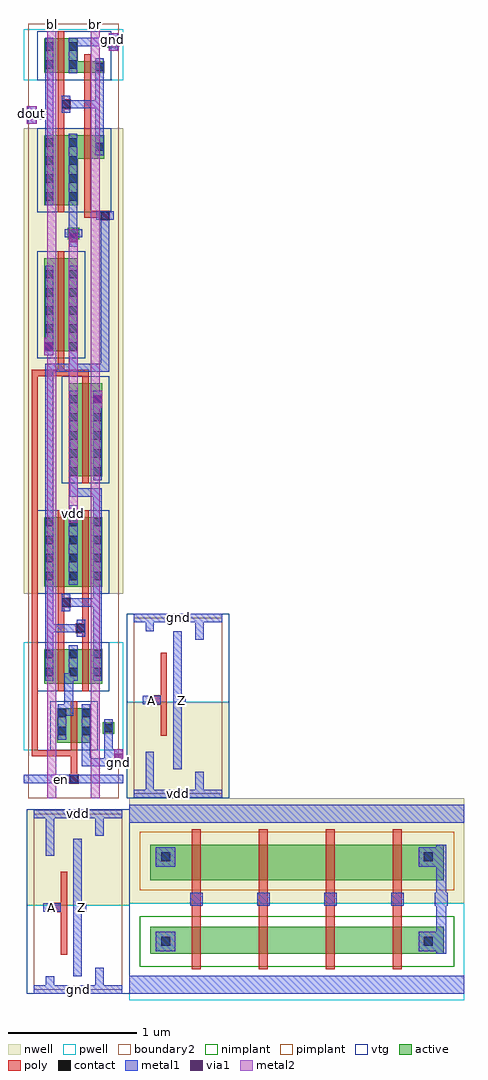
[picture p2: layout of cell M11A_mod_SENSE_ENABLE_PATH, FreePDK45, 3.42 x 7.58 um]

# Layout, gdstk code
import gdstk
lib = gdstk.Library(unit=1e-6, precision=1e-09)
def R(c, l, rs):  # rectangles x0, y0, x1, y1
    for r in rs: c.add(gdstk.rectangle(r[:2], r[2:], *l))
def A(c, l, x, y, w, h, nx, ny, dx, dy):  # array of equal rectangles
    R(c, l, [(x+i*dx, y+j*dy, x+i*dx+w, y+j*dy+h) for i in range(nx) for j in range(ny)])
def P(c, l, *ps):  # polygons
    for p in ps: c.add(gdstk.Polygon(p, *l))
active = (1, 0)
pwell = (2, 0)
nwell = (3, 0)
nimplant = (4, 0)
pimplant = (5, 0)
vtg = (6, 0)
poly = (9, 0)
contact = (10, 0)
metal1 = (11, 0)
via1 = (12, 0)
metal2 = (13, 0)
boundary2 = (239, 0)

m11a_mod_sense_enable_pa = lib.new_cell('M11A_mod_SENSE_ENABLE_PATH')
R(m11a_mod_sense_enable_pa, active, [(0.982,0.36,3.262,0.57), (0.982,0.93,3.262,1.205), (0.262,1.995,0.522,2.265), (0.262,1.995,0.337,2.265), (0.262,1.995,0.337,2.265), (0.447,1.995,0.522,2.265), (0.447,1.995,0.522,2.265), (0.262,2.05,0.337,2.265), (0.447,2.05,0.522,2.265), (0.615,2.065,0.705,2.155), (0.162,2.453,0.422,2.723), (0.162,2.453,0.237,2.723), (0.162,2.453,0.237,2.723), (0.347,2.453,0.422,2.723), (0.347,2.453,0.422,2.723), (0.352,2.453,0.612,2.723), (0.352,2.453,0.427,2.723), (0.352,2.453,0.427,2.723), (0.537,2.453,0.612,2.723), (0.537,2.453,0.612,2.723), (0.162,2.508,0.237,2.723), (0.347,2.508,0.422,2.723), (0.352,2.508,0.427,2.723), (0.537,2.508,0.612,2.723), (0.162,3.208,0.422,3.748), (0.162,3.208,0.237,3.748), (0.162,3.208,0.237,3.748), (0.347,3.208,0.422,3.748), (0.347,3.208,0.422,3.748), (0.352,3.208,0.612,3.748), (0.352,3.208,0.427,3.748), (0.352,3.208,0.427,3.748), (0.537,3.208,0.612,3.748), (0.537,3.208,0.612,3.748), (0.162,3.253,0.237,3.748), (0.347,3.253,0.422,3.748), (0.352,3.253,0.427,3.748), (0.537,3.253,0.612,3.748), (0.352,4.065,0.427,4.7), (0.352,4.065,0.612,4.785), (0.352,4.065,0.427,4.785), (0.352,4.065,0.427,4.785), (0.537,4.065,0.612,4.7), (0.537,4.065,0.612,4.785), (0.537,4.065,0.612,4.785), (0.162,5.035,0.237,5.67), (0.162,5.035,0.422,5.755), (0.162,5.035,0.237,5.755), (0.162,5.035,0.237,5.755), (0.347,5.035,0.422,5.67), (0.347,5.035,0.422,5.755), (0.347,5.035,0.422,5.755), (0.342,5.905,0.432,5.995), (0.63,7.39,0.72,7.48)])
P(m11a_mod_sense_enable_pa, active, [(0.162,7.465),(0.162,7.195),(0.627,7.195),(0.627,7.285),(0.422,7.285),(0.422,7.465)],
  [(0.162,6.71),(0.162,6.17),(0.422,6.17),(0.422,6.53),(0.627,6.53),(0.627,6.71)])
R(m11a_mod_sense_enable_pa, pwell, [(0.822,0,3.422,0.75), (0.025,0.047,0.823,0.735), (0,1.94,0.775,2.778), (0.207,1.94,0.577,2.32), (0.56,2.01,0.76,2.21), (0.8,2.31,1.598,2.998), (0.107,2.398,0.477,2.778), (0.297,2.398,0.667,2.778), (0,7.14,0.775,7.52)])
P(m11a_mod_sense_enable_pa, pwell, [(0,7.535),(0,7.52),(0.63,7.52),(0.63,7.48),(0.72,7.48),(0.72,7.52),(0.775,7.52),(0.775,7.535)])
R(m11a_mod_sense_enable_pa, nwell, [(0.025,0.735,0.823,1.48), (0.822,0.75,3.422,1.565), (0.8,1.565,1.598,2.31), (0,3.153,0.775,6.765), (0.107,3.153,0.477,3.803), (0.297,3.153,0.667,3.803), (0.297,4.01,0.667,4.84), (0.107,4.98,0.477,5.81)])
R(m11a_mod_sense_enable_pa, nimplant, [(0.902,0.26,3.342,0.65), (0.262,1.995,0.522,2.265), (0.162,2.453,0.422,2.723), (0.352,2.453,0.612,2.723), (0.342,5.905,0.432,5.995)])
P(m11a_mod_sense_enable_pa, nimplant, [(0.162,7.465),(0.162,7.195),(0.627,7.195),(0.627,7.285),(0.422,7.285),(0.422,7.465)])
R(m11a_mod_sense_enable_pa, pimplant, [(0.902,0.85,3.342,1.305), (0.615,2.065,0.705,2.155), (0.162,3.208,0.422,3.748), (0.352,3.208,0.612,3.748), (0.352,4.065,0.612,4.785), (0.162,5.035,0.422,5.755), (0.63,7.39,0.72,7.48)])
P(m11a_mod_sense_enable_pa, pimplant, [(0.162,6.71),(0.162,6.17),(0.422,6.17),(0.422,6.53),(0.627,6.53),(0.627,6.71)])
R(m11a_mod_sense_enable_pa, vtg, [(0.025,0.047,0.823,0.735), (0.025,0.735,0.823,1.48), (0.8,1.565,1.598,2.31), (0.207,1.94,0.577,2.32), (0.8,2.31,1.598,2.998), (0.107,2.398,0.477,2.778), (0.297,2.398,0.667,2.778), (0.107,3.153,0.477,3.803), (0.297,3.153,0.667,3.803), (0.297,4.01,0.667,4.84), (0.107,4.98,0.477,5.81), (0.107,6.115,0.68,6.765), (0.107,7.14,0.682,7.52)])
A(m11a_mod_sense_enable_pa, poly, 1.307, 0.24, 0.07, 1.085, 4, 1, 0.52, 0)
R(m11a_mod_sense_enable_pa, poly, [(0.288,0.35,0.338,0.995), (0.22,0.68,0.288,0.755), (0.355,1.678,0.43,1.753), (0.367,1.685,0.417,1.89), (0.062,1.89,0.417,1.94), (0.062,1.94,0.112,4.84), (0.367,1.94,0.417,1.995), (0.367,1.94,0.417,2.32), (1.063,2.05,1.113,2.695), (0.367,2.265,0.417,2.32), (0.995,2.29,1.063,2.365), (0.267,2.398,0.317,2.453), (0.267,2.398,0.317,2.778), (0.457,2.398,0.507,2.453), (0.457,2.398,0.507,2.778), (0.267,2.723,0.317,2.778), (0.457,2.723,0.507,2.778), (0.267,2.778,0.317,3.535), (0.457,2.778,0.507,3.535), (0.407,2.848,0.482,2.923), (0.292,3.048,0.367,3.123), (0.267,3.153,0.317,3.208), (0.267,3.153,0.317,3.803), (0.457,3.153,0.507,3.208), (0.457,3.153,0.507,3.803), (0.267,3.748,0.317,3.803), (0.457,3.748,0.507,3.803), (0.457,4.01,0.507,4.065), (0.457,4.01,0.507,4.84), (0.457,4.785,0.507,4.84), (0.062,4.84,0.507,4.89), (0.267,4.89,0.317,4.98), (0.267,4.98,0.317,5.035), (0.267,4.98,0.317,5.81), (0.267,5.755,0.317,5.81), (0.267,6.115,0.317,7.52), (0.292,6.915,0.367,6.99)])
P(m11a_mod_sense_enable_pa, poly, [(0.472,7.34),(0.472,6.07),(0.595,6.07),(0.595,6.05),(0.67,6.05),(0.67,6.125),(0.522,6.125),(0.522,7.34)])
A(m11a_mod_sense_enable_pa, contact, 0.167, 3.258, 0.065, 0.065, 1, 4, 0, 0.14)
A(m11a_mod_sense_enable_pa, contact, 0.357, 3.258, 0.065, 0.065, 1, 4, 0, 0.14)
A(m11a_mod_sense_enable_pa, contact, 0.542, 3.258, 0.065, 0.065, 1, 4, 0, 0.14)
A(m11a_mod_sense_enable_pa, contact, 0.357, 4.07, 0.065, 0.065, 1, 5, 0, 0.14)
A(m11a_mod_sense_enable_pa, contact, 0.542, 4.07, 0.065, 0.065, 1, 5, 0, 0.14)
A(m11a_mod_sense_enable_pa, contact, 0.167, 5.04, 0.065, 0.065, 1, 5, 0, 0.14)
A(m11a_mod_sense_enable_pa, contact, 0.352, 5.04, 0.065, 0.065, 1, 5, 0, 0.14)
A(m11a_mod_sense_enable_pa, contact, 0.167, 6.203, 0.065, 0.065, 1, 4, 0, 0.14)
A(m11a_mod_sense_enable_pa, contact, 0.352, 6.203, 0.065, 0.065, 1, 4, 0, 0.14)
R(m11a_mod_sense_enable_pa, contact, [(1.067,0.42,1.137,0.49), (3.107,0.42,3.177,0.49), (1.067,1.075,1.137,1.145), (3.107,1.075,3.177,1.145), (0.36,1.683,0.425,1.748), (0.267,2.055,0.332,2.12), (0.452,2.055,0.517,2.12), (0.627,2.078,0.692,2.143), (0.267,2.195,0.332,2.26), (0.452,2.195,0.517,2.26), (0.167,2.513,0.232,2.578), (0.357,2.513,0.422,2.578), (0.542,2.513,0.607,2.578), (0.167,2.653,0.232,2.718), (0.357,2.653,0.422,2.718), (0.542,2.653,0.607,2.718), (0.412,2.853,0.477,2.918), (0.297,3.053,0.362,3.118), (0.355,5.918,0.42,5.983), (0.6,6.055,0.665,6.12), (0.557,6.59,0.622,6.655), (0.297,6.92,0.362,6.985), (0.557,7.21,0.622,7.275), (0.167,7.228,0.232,7.293), (0.352,7.228,0.417,7.293), (0.167,7.368,0.232,7.433), (0.352,7.368,0.417,7.433), (0.645,7.403,0.71,7.468)])
A(m11a_mod_sense_enable_pa, metal1, 1.292, 0.733, 0.1, 0.099, 4, 1, 0.52, 0)
R(m11a_mod_sense_enable_pa, metal1, [(0.08,0.047,0.767,0.113), (0.172,0.047,0.237,0.183), (0.822,0.05,3.422,0.19), (2.072,0.07,2.172,0.17), (0.558,0.08,0.622,0.25), (0.387,0.183,0.452,1.253), (3.202,0.36,3.282,1.205), (1.027,0.38,1.177,0.53), (3.067,0.38,3.217,0.53), (0.152,0.685,0.288,0.75), (0.42,0.685,0.485,0.75), (3.192,0.733,3.292,0.832), (1.027,1.035,1.177,1.185), (3.067,1.035,3.217,1.185), (0.172,1.118,0.237,1.477), (0.558,1.275,0.622,1.445), (0.822,1.375,3.422,1.515), (2.072,1.395,2.172,1.495), (0.08,1.412,0.767,1.477), (0.855,1.568,1.542,1.633), (0.947,1.568,1.012,1.927), (1.333,1.6,1.397,1.77), (0,1.683,0.775,1.748), (0.265,1.683,0.33,1.748), (0.325,1.683,0.46,1.748), (1.162,1.792,1.227,2.862), (0.452,1.813,0.775,1.878), (0.627,1.813,0.692,2.043), (0.707,1.813,0.772,1.948), (0.452,1.878,0.517,2.03), (0.692,1.878,0.707,1.948), (0.267,2.02,0.332,2.295), (0.452,2.02,0.517,2.295), (0.627,2.043,0.692,2.178), (0.317,2.208,0.387,2.535), (0.927,2.295,1.063,2.36), (1.195,2.295,1.26,2.36), (0.167,2.478,0.232,2.753), (0.352,2.478,0.417,2.753), (0.357,2.478,0.422,2.753), (0.542,2.478,0.607,2.753), (0.167,2.748,0.232,3.615), (0.542,2.753,0.607,3.615), (1.333,2.795,1.397,2.965), (0.412,2.818,0.477,2.953), (0.167,2.853,0.457,2.918), (0.947,2.862,1.012,2.998), (0.855,2.932,1.542,2.998), (0.297,3.018,0.362,3.153), (0.317,3.053,0.607,3.118), (0.167,3.223,0.232,3.778), (0.352,3.223,0.417,3.778), (0.357,3.223,0.422,3.778), (0.542,3.223,0.607,3.778), (0.355,3.705,0.42,3.84), (0.542,3.775,0.607,3.97), (0.167,3.778,0.232,4.875), (0.357,3.905,0.422,4.1), (0.357,3.905,0.607,3.97), (0.357,4.035,0.422,4.73), (0.542,4.035,0.607,4.73), (0.545,4.595,0.61,4.73), (0.167,4.875,0.665,4.94), (0.355,4.875,0.42,5.073), (0.6,4.875,0.665,6.12), (0.162,5.005,0.227,5.14), (0.167,5.005,0.232,5.7), (0.352,5.005,0.417,5.7), (0.355,5.848,0.42,5.983), (0.32,5.918,0.455,5.983), (0.352,5.918,0.417,6.688), (0.565,6.055,0.7,6.12), (0.167,6.168,0.232,7.468), (0.557,6.555,0.622,6.59), (0.352,6.688,0.417,6.723), (0.033,6.8,0.097,6.935), (0.028,6.83,0.102,6.905), (0.102,6.835,0.167,6.9), (0.297,6.885,0.362,7.02), (0.352,7.193,0.417,7.468), (0.557,7.275,0.622,7.31), (0.417,7.403,0.602,7.468)])
P(m11a_mod_sense_enable_pa, metal1, [(0.557,7.275),(0.557,6.985),(0.297,6.985),(0.297,6.92),(0.557,6.92),(0.557,6.59),(0.622,6.59),(0.622,7.275)],
  [(0.667,7.503),(0.667,7.468),(0.602,7.468),(0.602,7.403),(0.667,7.403),(0.667,7.368),(0.732,7.368),(0.732,7.403),(0.745,7.403),(0.745,7.468),(0.732,7.468),(0.732,7.503)],
  [(0.035,6.123),(0.035,6.123),(0.035,6.123),(0.035,6.123)])
R(m11a_mod_sense_enable_pa, via1, [(0.707,1.848,0.772,1.913), (0.355,3.74,0.42,3.805), (0.545,4.63,0.61,4.695), (0.162,5.04,0.227,5.105), (0.355,5.883,0.42,5.948), (0.033,6.835,0.097,6.9), (0.667,7.403,0.732,7.468)])
R(m11a_mod_sense_enable_pa, metal2, [(0.185,1.565,0.255,7.575), (0.52,1.565,0.59,7.575), (0.705,1.813,0.775,1.948), (0.352,3.705,0.422,3.84), (0.352,3.84,0.422,5.85), (0.542,4.595,0.612,4.73), (0.16,5.005,0.23,5.14), (0.352,5.848,0.422,5.983), (0.025,6.8,0.102,6.935), (0.028,6.83,0.102,6.905), (0.662,7.368,0.737,7.503), (0.662,7.398,0.737,7.473)])
R(m11a_mod_sense_enable_pa, boundary2, [(0.08,0.08,0.767,1.445), (0.08,0.08,0.767,1.445), (0.035,1.565,0.74,7.575), (0.855,1.6,1.542,2.965), (0.855,1.6,1.542,2.965)])
m11a_mod_sense_enable_pa.add(gdstk.Label('A', (0.22,0.718), layer=11, texttype=0))
m11a_mod_sense_enable_pa.add(gdstk.Label('Z', (0.452,0.718), layer=11, texttype=0))
m11a_mod_sense_enable_pa.add(gdstk.Label('gnd', (0.425,0.08), layer=11, texttype=0))
m11a_mod_sense_enable_pa.add(gdstk.Label('vdd', (0.425,1.445), layer=11, texttype=0))
m11a_mod_sense_enable_pa.add(gdstk.Label('A', (0.995,2.327), layer=11, texttype=0))
m11a_mod_sense_enable_pa.add(gdstk.Label('Z', (1.227,2.327), layer=11, texttype=0))
m11a_mod_sense_enable_pa.add(gdstk.Label('gnd', (1.2,2.965), layer=11, texttype=0))
m11a_mod_sense_enable_pa.add(gdstk.Label('vdd', (1.2,1.6), layer=11, texttype=0))
m11a_mod_sense_enable_pa.add(gdstk.Label('en', (0.293,1.715), layer=11, texttype=0))
m11a_mod_sense_enable_pa.add(gdstk.Label('dout', (0.063,6.883), layer=13, texttype=0))
m11a_mod_sense_enable_pa.add(gdstk.Label('gnd', (0.69,7.452), layer=13, texttype=0))
m11a_mod_sense_enable_pa.add(gdstk.Label('bl', (0.225,7.57), layer=13, texttype=0))
m11a_mod_sense_enable_pa.add(gdstk.Label('br', (0.555,7.569), layer=13, texttype=0))
m11a_mod_sense_enable_pa.add(gdstk.Label('vdd', (0.387,3.775), layer=13, texttype=0))
m11a_mod_sense_enable_pa.add(gdstk.Label('gnd', (0.737,1.84), layer=13, texttype=0))

lib.write_gds('M11A_mod_SENSE_ENABLE_PATH.gds')
